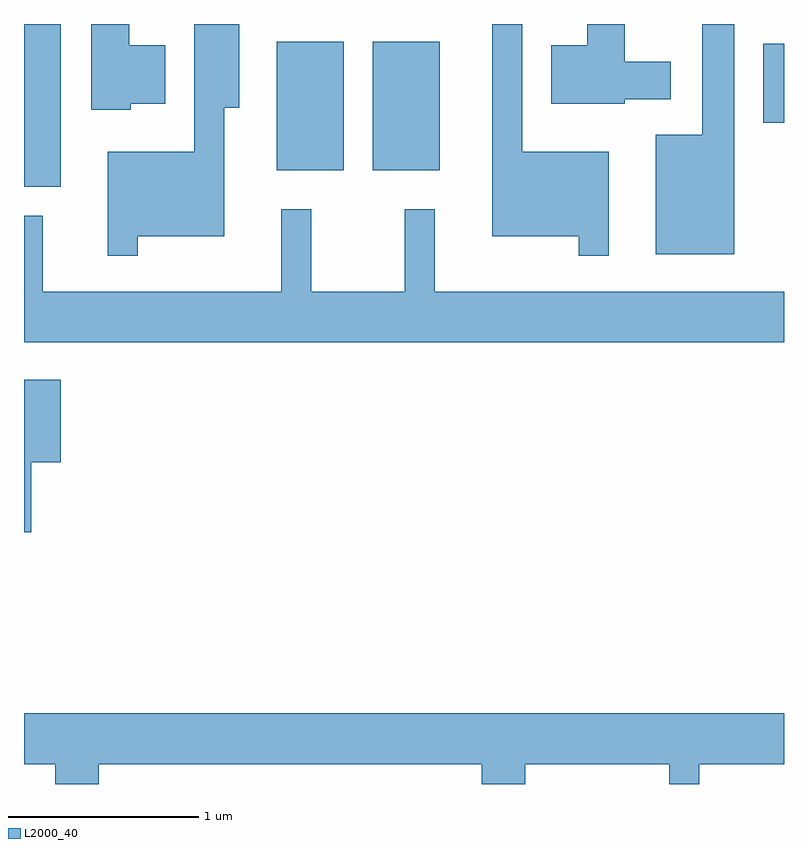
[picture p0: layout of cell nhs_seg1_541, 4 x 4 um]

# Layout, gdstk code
import gdstk
lib = gdstk.Library(unit=1e-6, precision=1e-09)
def R(c, l, rs):  # rectangles x0, y0, x1, y1
    for r in rs: c.add(gdstk.rectangle(r[:2], r[2:], *l))
def P(c, l, *ps):  # polygons
    for p in ps: c.add(gdstk.Polygon(p, *l))
L2000_40 = (2000, 40)

nhs_seg1_541 = lib.new_cell('nhs_seg1_541')
R(nhs_seg1_541, L2000_40, [(201.611,884.856,201.804,885.712), (202.941,884.941,203.294,885.619), (203.446,884.941,203.799,885.619), (205.501,885.191,205.611,885.609)])
P(nhs_seg1_541, L2000_40, [(202.209,884.596),(202.664,884.596),(202.664,885.271),(202.744,885.271),(202.744,885.712),(202.506,885.712),(202.506,885.039),(202.051,885.039),(202.051,884.493),(202.209,884.493)],
  [(202.174,885.291),(202.354,885.291),(202.354,885.599),(202.164,885.599),(202.164,885.712),(201.966,885.712),(201.966,885.261),(202.174,885.261)],
  [(204.774,885.316),(205.014,885.316),(205.014,885.514),(204.774,885.514),(204.774,885.712),(204.576,885.712),(204.576,885.599),(204.386,885.599),(204.386,885.291),(204.774,885.291)],
  [(205.349,885.712),(205.181,885.712),(205.181,885.129),(204.936,885.129),(204.936,884.501),(205.349,884.501)],
  [(204.689,885.039),(204.234,885.039),(204.234,885.712),(204.076,885.712),(204.076,884.596),(204.531,884.596),(204.531,884.493),(204.689,884.493)],
  [(205.611,884.304),(203.774,884.304),(203.774,884.738),(203.616,884.738),(203.616,884.304),(203.124,884.304),(203.124,884.738),(202.966,884.738),(202.966,884.304),(201.709,884.304),(201.709,884.704),(201.611,884.704),(201.611,884.036),(205.611,884.036)],
  [(201.649,883.406),(201.804,883.406),(201.804,883.839),(201.611,883.839),(201.611,883.036),(201.649,883.036)],
  [(202.004,881.816),(204.021,881.816),(204.021,881.712),(204.249,881.712),(204.249,881.816),(205.006,881.816),(205.006,881.712),(205.164,881.712),(205.164,881.816),(205.611,881.816),(205.611,882.084),(201.611,882.084),(201.611,881.816),(201.776,881.816),(201.776,881.712),(202.004,881.712)])

lib.write_gds('nhs_seg1_541.gds')
